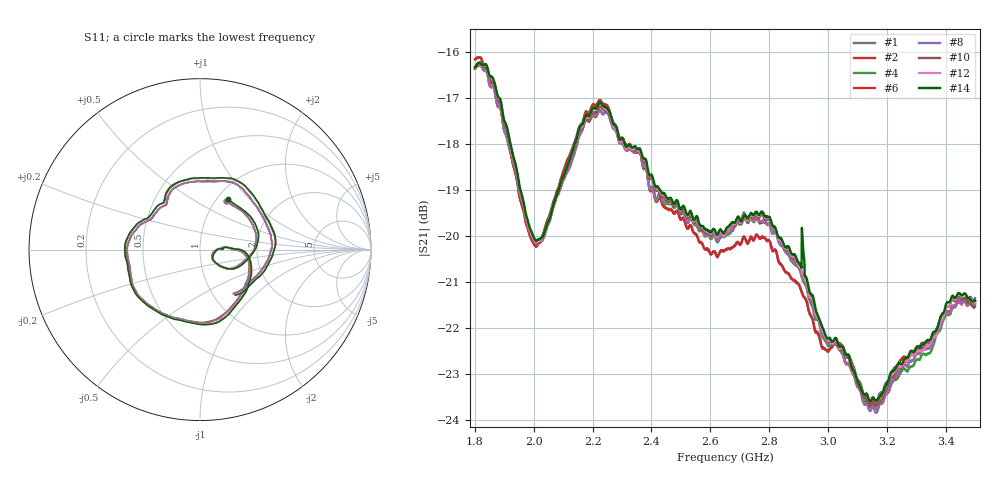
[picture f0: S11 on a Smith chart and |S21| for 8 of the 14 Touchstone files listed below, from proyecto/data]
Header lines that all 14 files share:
! Created with skrf 1.9.0 (http://scikit-rf.org).
# Hz S RI R 50.0
!freq ReS11 ImS11 ReS21 ImS21 ReS12 ImS12 ReS22 ImS22
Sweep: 1.8 GHz to 3.5 GHz
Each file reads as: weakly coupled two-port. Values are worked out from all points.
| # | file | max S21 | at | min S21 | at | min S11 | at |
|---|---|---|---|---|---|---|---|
| 1 | A01_D01_B2_O120_corrected.s2p | -16.12 dB | 1.817 GHz | -23.6 dB | 3.163 GHz | -22.2 dB | 2.092 GHz |
| 2 | A01_D01_B2_O240_corrected.s2p | -16.13 dB | 1.81 GHz | -23.7 dB | 3.163 GHz | -22.3 dB | 2.093 GHz |
| 3 | A01_D02_B2_O240_corrected.s2p | -16.13 dB | 1.81 GHz | -23.8 dB | 3.163 GHz | -22.4 dB | 2.092 GHz |
| 4 | A01_D03_B2_O000_corrected.s2p | -16.23 dB | 1.818 GHz | -23.8 dB | 3.165 GHz | -22.3 dB | 2.09 GHz |
| 5 | A01_D03_B2_O120_corrected.s2p | -16.25 dB | 1.818 GHz | -23.8 dB | 3.165 GHz | -22.1 dB | 2.09 GHz |
| 6 | A01_D03_B2_O240_corrected.s2p | -16.26 dB | 1.818 GHz | -23.8 dB | 3.163 GHz | -22.2 dB | 2.09 GHz |
| 7 | A01_D04_B2_O000_corrected.s2p | -16.23 dB | 1.819 GHz | -23.8 dB | 3.163 GHz | -22.4 dB | 2.09 GHz |
| 8 | A01_D04_B2_O240_corrected.s2p | -16.25 dB | 1.818 GHz | -23.9 dB | 3.165 GHz | -22.4 dB | 2.09 GHz |
| 9 | A01_D05_B2_O000_corrected.s2p | -16.26 dB | 1.812 GHz | -23.7 dB | 3.164 GHz | -21.7 dB | 2.09 GHz |
| 10 | A01_D05_B2_O240_corrected.s2p | -16.28 dB | 1.812 GHz | -23.7 dB | 3.142 GHz | -21.7 dB | 2.091 GHz |
| 11 | A01_D06_B2_O000_corrected.s2p | -16.24 dB | 1.811 GHz | -23.6 dB | 3.163 GHz | -21.5 dB | 2.089 GHz |
| 12 | A01_D06_B2_O120_corrected.s2p | -16.27 dB | 1.811 GHz | -23.6 dB | 3.163 GHz | -21.4 dB | 2.09 GHz |
| 13 | A01_D06_B2_O240_corrected.s2p | -16.27 dB | 1.812 GHz | -23.7 dB | 3.142 GHz | -21.5 dB | 2.089 GHz |
| 14 | A01_D07_B2_O120_corrected.s2p | -16.24 dB | 1.812 GHz | -23.6 dB | 3.142 GHz | -21.5 dB | 2.089 GHz |
